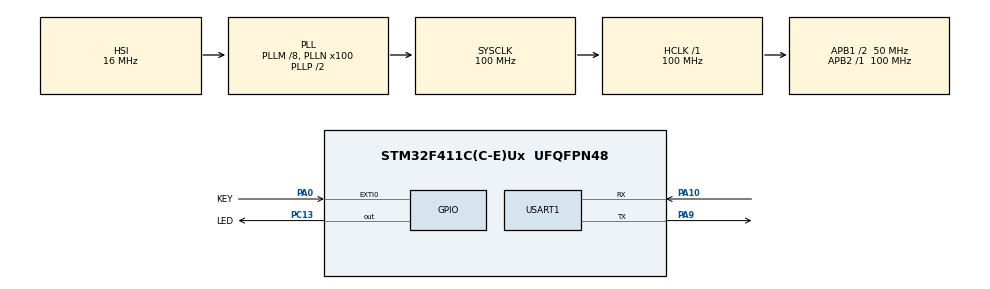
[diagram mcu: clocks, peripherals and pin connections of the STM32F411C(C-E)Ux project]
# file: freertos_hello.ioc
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FREERTOS.Tasks01=defaultTask,24,128,StartDefaultTask,Default,NULL,Dynamic,NULL,NULL
Mcu.Family=STM32F4
Mcu.Name=STM32F411C(C-E)Ux
Mcu.Package=UFQFPN48
NVIC.EXTI0_IRQn=true\:5\:0\:false\:false\:true\:true\:true\:true\:true
NVIC.PriorityGroup=NVIC_PRIORITYGROUP_4
NVIC.TIM1_TRG_COM_TIM11_IRQn=true\:15\:0\:false\:false\:true\:false\:false\:true\:true
NVIC.TIM2_IRQn=true\:5\:0\:false\:false\:true\:true\:true\:true\:true
NVIC.TimeBase=TIM1_TRG_COM_TIM11_IRQn
NVIC.TimeBaseIP=TIM11
PA0-WKUP.GPIO_Label=KEY
PA0-WKUP.GPIO_ModeDefaultEXTI=GPIO_MODE_IT_FALLING
PA0-WKUP.GPIO_PuPd=GPIO_PULLUP
PA0-WKUP.Signal=GPXTI0
PA10.Mode=Asynchronous
PA10.Signal=USART1_RX
PA13.Mode=Serial_Wire
PA13.Signal=SYS_JTMS-SWDIO
PA14.Mode=Serial_Wire
PA14.Signal=SYS_JTCK-SWCLK
PA9.Mode=Asynchronous
PA9.Signal=USART1_TX
PC13-ANTI_TAMP.GPIO_Label=LED
PC13-ANTI_TAMP.Signal=GPIO_Output
PC14-OSC32_IN.Mode=LSE-External-Oscillator
PC14-OSC32_IN.Signal=RCC_OSC32_IN
PC15-OSC32_OUT.Mode=LSE-External-Oscillator
PC15-OSC32_OUT.Signal=RCC_OSC32_OUT
PH0\ -\ OSC_IN.Mode=HSE-External-Oscillator
PH0\ -\ OSC_IN.Signal=RCC_OSC_IN
PH1\ -\ OSC_OUT.Mode=HSE-External-Oscillator
PH1\ -\ OSC_OUT.Signal=RCC_OSC_OUT
ProjectManager.HeapSize=0x200
ProjectManager.StackSize=0x400
ProjectManager.TargetToolchain=MDK-ARM V5.32
RCC.48MHZClocksFreq_Value=50000000
RCC.AHBFreq_Value=100000000
RCC.APB1CLKDivider=RCC_HCLK_DIV2
RCC.APB1Freq_Value=50000000
RCC.APB1TimFreq_Value=100000000
RCC.APB2Freq_Value=100000000
RCC.APB2TimFreq_Value=100000000
RCC.CortexFreq_Value=100000000
RCC.HCLKFreq_Value=100000000
RCC.HSE_VALUE=25000000
RCC.HSI_VALUE=16000000
RCC.PLLM=8
RCC.PLLN=100
RCC.SYSCLKFreq_VALUE=100000000
RCC.SYSCLKSource=RCC_SYSCLKSOURCE_PLLCLK
RCC.VCOOutputFreq_Value=200000000
TIM2.Period=1000
TIM2.Prescaler=10000-1
USART1.VirtualMode=VM_ASYNC
VP_FREERTOS_VS_CMSIS_V2.Mode=CMSIS_V2
VP_SYS_VS_tim11.Mode=TIM11
VP_TIM2_VS_ClockSourceINT.Mode=Internal
board=custom

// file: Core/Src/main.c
/* USER CODE BEGIN Header */
/**
  ******************************************************************************
  * @file           : main.c
  * @brief          : Main program body
  ******************************************************************************
  * @attention
  *
  * Copyright (c) 2025 STMicroelectronics.
  * All rights reserved.
  *
  * This software is licensed under terms that can be found in the LICENSE file
  * in the root directory of this software component.
  * If no LICENSE file comes with this software, it is provided AS-IS.
  *
  ******************************************************************************
  */
/* USER CODE END Header */
#include "main.h"
#include "cmsis_os.h"
#include "tim.h"
#include "usart.h"
#include "gpio.h"

/* USER CODE BEGIN Includes */
#include <stdio.h>
/* USER CODE END Includes */

void SystemClock_Config(void);
void MX_FREERTOS_Init(void);

int main(void)
{

  /* MCU Configuration--------------------------------------------------------*/

  /* Reset of all peripherals, Initializes the Flash interface and the Systick. */
  HAL_Init();

  /* Configure the system clock */
  SystemClock_Config();

  /* Initialize all configured peripherals */
  MX_GPIO_Init();
  MX_USART1_UART_Init();
  MX_TIM2_Init();
  /* USER CODE BEGIN 2 */
    HAL_TIM_Base_Start_IT(&htim2);
  /* USER CODE END 2 */

  /* Init scheduler */
  osKernelInitialize();  /* Call init function for freertos objects (in freertos.c) */
  MX_FREERTOS_Init();

  /* Start scheduler */
  osKernelStart();
  /* We should never get here as control is now taken by the scheduler */
  /* Infinite loop */
  while (1)
  {

  }
}

void SystemClock_Config(void)
{
  RCC_OscInitTypeDef RCC_OscInitStruct = {0};
  RCC_ClkInitTypeDef RCC_ClkInitStruct = {0};

  /** Configure the main internal regulator output voltage
  */
  __HAL_RCC_PWR_CLK_ENABLE();
  __HAL_PWR_VOLTAGESCALING_CONFIG(PWR_REGULATOR_VOLTAGE_SCALE1);

  /** Initializes the RCC Oscillators according to the specified parameters
  * in the RCC_OscInitTypeDef structure.
  */
  RCC_OscInitStruct.OscillatorType = RCC_OSCILLATORTYPE_HSI;
  RCC_OscInitStruct.HSIState = RCC_HSI_ON;
  RCC_OscInitStruct.HSICalibrationValue = RCC_HSICALIBRATION_DEFAULT;
  RCC_OscInitStruct.PLL.PLLState = RCC_PLL_ON;
  RCC_OscInitStruct.PLL.PLLSource = RCC_PLLSOURCE_HSI;
  RCC_OscInitStruct.PLL.PLLM = 8;
  RCC_OscInitStruct.PLL.PLLN = 100;
  RCC_OscInitStruct.PLL.PLLP = RCC_PLLP_DIV2;
  RCC_OscInitStruct.PLL.PLLQ = 4;
  if (HAL_RCC_OscConfig(&RCC_OscInitStruct) != HAL_OK)
  {
    Error_Handler();
  }

  /** Initializes the CPU, AHB and APB buses clocks
  */
  RCC_ClkInitStruct.ClockType = RCC_CLOCKTYPE_HCLK|RCC_CLOCKTYPE_SYSCLK
                              |RCC_CLOCKTYPE_PCLK1|RCC_CLOCKTYPE_PCLK2;
  RCC_ClkInitStruct.SYSCLKSource = RCC_SYSCLKSOURCE_PLLCLK;
  RCC_ClkInitStruct.AHBCLKDivider = RCC_SYSCLK_DIV1;
  RCC_ClkInitStruct.APB1CLKDivider = RCC_HCLK_DIV2;
  RCC_ClkInitStruct.APB2CLKDivider = RCC_HCLK_DIV1;

  if (HAL_RCC_ClockConfig(&RCC_ClkInitStruct, FLASH_LATENCY_3) != HAL_OK)
  {
    Error_Handler();
  }
}

void HAL_TIM_PeriodElapsedCallback(TIM_HandleTypeDef *htim)
{
  if (htim->Instance == TIM11) {
    HAL_IncTick();
  }
  /* USER CODE BEGIN Callback 1 */
  if (htim->Instance == TIM2) {
    led_callback_in_timer();
  }
  /* USER CODE END Callback 1 */
}

void Error_Handler(void)
{
  __disable_irq();
  while (1)
  {
  }
}

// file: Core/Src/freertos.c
/* USER CODE BEGIN Header */
/**
  ******************************************************************************
  * File Name          : freertos.c
  * Description        : Code for freertos applications
  ******************************************************************************
  * @attention
  *
  * Copyright (c) 2025 STMicroelectronics.
  * All rights reserved.
  *
  * This software is licensed under terms that can be found in the LICENSE file
  * in the root directory of this software component.
  * If no LICENSE file comes with this software, it is provided AS-IS.
  *
  ******************************************************************************
  */
/* USER CODE END Header */

#include "FreeRTOS.h"
#include "task.h"
#include "main.h"
#include "cmsis_os.h"

/* USER CODE BEGIN Includes */
#include <stdio.h>
#include "bsp_key_irq.h"
#include "bsp_led.h"
/* USER CODE END Includes */

/* Definitions for defaultTask */
osThreadId_t defaultTaskHandle;
const osThreadAttr_t defaultTask_attributes = {
  .name = "defaultTask",
  .stack_size = 128 * 4,
  .priority = (osPriority_t) osPriorityNormal,
};

void StartDefaultTask(void *argument);

void MX_FREERTOS_Init(void); /* (MISRA C 2004 rule 8.1) */

void MX_FREERTOS_Init(void) {

  /* Create the thread(s) */
  /* creation of defaultTask */
  defaultTaskHandle = osThreadNew(StartDefaultTask, NULL, &defaultTask_attributes);

  /* USER CODE BEGIN RTOS_THREADS */
  /* add threads, ... */
  key_TaskHandle = osThreadNew(key_task_func, NULL, &key_Task_attributes);
  led_TaskHandle = osThreadNew(led_task_func, NULL, &led_Task_attributes);
  /* USER CODE END RTOS_THREADS */

}

void StartDefaultTask(void *argument)
{
  /* USER CODE BEGIN StartDefaultTask */

#if 0 // Unity Test #4 Blink_1_times
    led_operation_t led_value          =       LED_BLINK_1_TIMES;

    if ( NULL == led_queue )
    {
        printf( "led_queue not created"
                " at [%d] tick \r\n",
                               HAL_GetTick());
    }
    if ( pdTRUE == xQueueSendToFront(          led_queue,
                                          &( led_value ),
                                        ( TickType_t )0))
    {
        printf( "led_queue send led_value successfully"
                " at [%d] tick \r\n",
                               HAL_GetTick());
    }
#endif // End of Test #4

    key_press_status_t key_result = KEY_SHORT_PRESSED;

    for(;;)
    {
        printf("APP task is living\r\n");

        if ( pdTRUE == xQueueReceive(        key_queue,
                                           &key_result,
                                                    0) )
        {
            printf( "key_result receive successfully"
                    " at [%d] tick \r\n",
                                    HAL_GetTick());

            //Send the message to the led
            if( KEY_SHORT_PRESSED == key_result)
            {
                led_operation_t led_value          =       LED_BLINK_1_TIMES;

                if ( NULL == led_queue )
                {
                    printf( "led_queue not created"
                            " at [%d] tick \r\n",
                                          HAL_GetTick());
                }
                if ( pdTRUE == xQueueSendToFront(          led_queue,
                                                      &( led_value ),
                                                    ( TickType_t )0))
                {
                    printf( "led_queue send led_value successfully"
                            " at [%d] tick \r\n",
                                          HAL_GetTick());
                }
            }
            if( KEY_LONG_PRESSED == key_result)
            {
                led_operation_t led_value          =       LED_BLINK_10_TIMES;

                if ( NULL == led_queue )
                {
                    printf( "led_queue not created"
                            " at [%d] tick \r\n",
                                          HAL_GetTick());
                }
                if ( pdTRUE == xQueueSendToFront(          led_queue,
                                                      &( led_value ),
                                                    ( TickType_t )0))
                {
                    printf( "led_queue send led_value successfully"
                            " at [%d] tick \r\n",
                                          HAL_GetTick());
                }
            }
        }

        osDelay(100);
    }
  /* USER CODE END StartDefaultTask */
}
